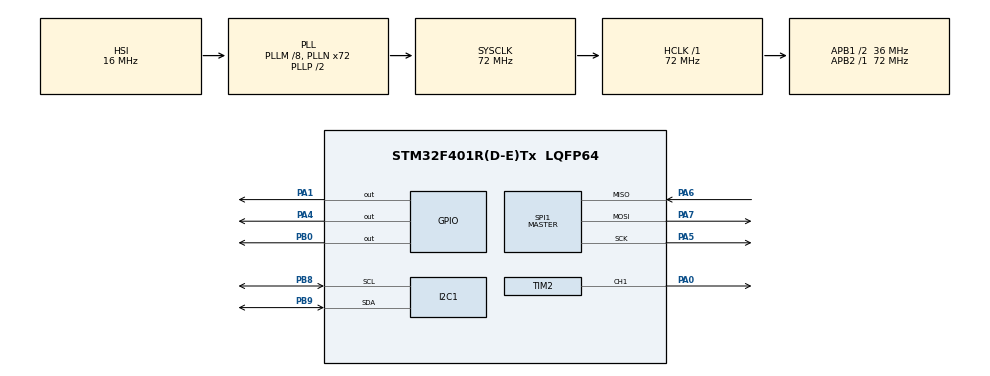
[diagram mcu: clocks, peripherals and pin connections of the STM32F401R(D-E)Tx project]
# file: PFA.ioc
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Mcu.Family=STM32F4
Mcu.Name=STM32F401R(D-E)Tx
Mcu.Package=LQFP64
NVIC.PriorityGroup=NVIC_PRIORITYGROUP_0
PA0-WKUP.Signal=S_TIM2_CH1_ETR
PA1.Signal=GPIO_Output
PA13.Mode=Serial_Wire
PA13.Signal=SYS_JTMS-SWDIO
PA14.Mode=Serial_Wire
PA14.Signal=SYS_JTCK-SWCLK
PA4.Signal=GPIO_Output
PA5.Mode=Full_Duplex_Master
PA5.Signal=SPI1_SCK
PA6.Mode=Full_Duplex_Master
PA6.Signal=SPI1_MISO
PA7.Mode=Full_Duplex_Master
PA7.Signal=SPI1_MOSI
PB0.Signal=GPIO_Output
PB8.Mode=I2C
PB8.Signal=I2C1_SCL
PB9.Mode=I2C
PB9.Signal=I2C1_SDA
PH0\ -\ OSC_IN.Mode=HSE-External-Oscillator
PH0\ -\ OSC_IN.Signal=RCC_OSC_IN
PH1\ -\ OSC_OUT.Mode=HSE-External-Oscillator
PH1\ -\ OSC_OUT.Signal=RCC_OSC_OUT
ProjectManager.HeapSize=0x200
ProjectManager.StackSize=0x400
ProjectManager.TargetToolchain=STM32CubeIDE
RCC.48MHZClocksFreq_Value=20571428.57142857
RCC.AHBFreq_Value=72000000
RCC.APB1CLKDivider=RCC_HCLK_DIV2
RCC.APB1Freq_Value=36000000
RCC.APB1TimFreq_Value=72000000
RCC.APB2Freq_Value=72000000
RCC.APB2TimFreq_Value=72000000
RCC.CortexFreq_Value=72000000
RCC.HCLKFreq_Value=72000000
RCC.HSE_VALUE=8000000
RCC.HSI_VALUE=16000000
RCC.LSE_VALUE=32768
RCC.PLLM=8
RCC.PLLN=72
RCC.PLLQ=7
RCC.SYSCLKFreq_VALUE=72000000
RCC.SYSCLKSource=RCC_SYSCLKSOURCE_PLLCLK
RCC.VCOOutputFreq_Value=144000000
SH.S_TIM2_CH1_ETR.0=TIM2_CH1,PWM Generation1 CH1
SPI1.BaudRatePrescaler=SPI_BAUDRATEPRESCALER_8
SPI1.Direction=SPI_DIRECTION_2LINES
SPI1.Mode=SPI_MODE_MASTER
SPI1.VirtualType=VM_MASTER
TIM1.Prescaler=71
TIM2.Channel-PWM\ Generation1\ CH1=TIM_CHANNEL_1
TIM2.Prescaler=900-1
VP_TIM1_VS_ClockSourceINT.Mode=Internal
board=NUCLEO-F401RE

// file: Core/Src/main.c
/* USER CODE BEGIN Header */
/**
  ******************************************************************************
  * @file           : main.c
  * @brief          : Main program body
  ******************************************************************************
  * @attention
  *
  * Copyright (c) 2024 STMicroelectronics.
  * All rights reserved.
  *
  * This software is licensed under terms that can be found in the LICENSE file
  * in the root directory of this software component.
  * If no LICENSE file comes with this software, it is provided AS-IS.
  *
  ******************************************************************************
  */
/* USER CODE END Header */
#include "main.h"

/* USER CODE BEGIN Includes */
#include "i2c-lcd.h"
#include "stdio.h"
#include "string.h"
#include "rc522.h"
#include"stm32f4xx_hal.h"
/* USER CODE END Includes */

I2C_HandleTypeDef hi2c1;

SPI_HandleTypeDef hspi1;

TIM_HandleTypeDef htim1;
TIM_HandleTypeDef htim2;

/* USER CODE BEGIN PV */
uint8_t status;
uint8_t str[MAX_LEN]; // Max_LEN = 16
uint8_t sNum[5];
/* USER CODE END PV */

void SystemClock_Config(void);
static void MX_GPIO_Init(void);
static void MX_I2C1_Init(void);
static void MX_TIM1_Init(void);
static void MX_SPI1_Init(void);
static void MX_TIM2_Init(void);

/* USER CODE BEGIN 0 */
#define DHT11_PORT GPIOA
#define DHT11_PIN GPIO_PIN_1
uint8_t RHI, RHD, TCI, TCD, SUM;
uint32_t pMillis, cMillis;
float Temp = 0;
float tFahrenheit = 0;
float Rh = 0;
void microDelay (uint16_t delay)
{
  __HAL_TIM_SET_COUNTER(&htim1, 0);
  while (__HAL_TIM_GET_COUNTER(&htim1) < delay);
}
void Display_Temp (float Temp)
{
	char str[20] = {0};
	lcd_put_cur(0,0);

	sprintf (str, "TEMP: %.2f", Temp);
	lcd_send_string(str);
	lcd_send_data('c');
}
void Display_Rh (float Rh)
{
	char str[20] = {0};
	lcd_put_cur(1,0);

	sprintf (str, "Rh: %.2f", Rh);
	lcd_send_string(str);
	lcd_send_data('%');
}

uint8_t DHT11_Start (void)
{
  uint8_t Response = 0;
  GPIO_InitTypeDef GPIO_InitStructPrivate = {0};
  GPIO_InitStructPrivate.Pin = DHT11_PIN;
  GPIO_InitStructPrivate.Mode = GPIO_MODE_OUTPUT_PP;
  GPIO_InitStructPrivate.Speed = GPIO_SPEED_FREQ_LOW;
  GPIO_InitStructPrivate.Pull = GPIO_NOPULL;
  HAL_GPIO_Init(DHT11_PORT, &GPIO_InitStructPrivate); // set the pin as output
  HAL_GPIO_WritePin (DHT11_PORT, DHT11_PIN, 0);   // pull the pin low
  HAL_Delay(20);   // wait for 20ms
  HAL_GPIO_WritePin (DHT11_PORT, DHT11_PIN, 1);   // pull the pin high
  microDelay (30);   // wait for 30us
  GPIO_InitStructPrivate.Mode = GPIO_MODE_INPUT;
  GPIO_InitStructPrivate.Pull = GPIO_PULLUP;
  HAL_GPIO_Init(DHT11_PORT, &GPIO_InitStructPrivate); // set the pin as input
  microDelay (40);
  if (!(HAL_GPIO_ReadPin (DHT11_PORT, DHT11_PIN)))
  {
    microDelay (80);
    if ((HAL_GPIO_ReadPin (DHT11_PORT, DHT11_PIN))) Response = 1;
  }
  pMillis = HAL_GetTick();
  cMillis = HAL_GetTick();
  while ((HAL_GPIO_ReadPin (DHT11_PORT, DHT11_PIN)) && pMillis + 2 > cMillis)
  {
    cMillis = HAL_GetTick();
  }
  return Response;
}

uint8_t DHT11_Read (void)
{
  uint8_t a,b;
  for (a=0;a<8;a++)
  {
    pMillis = HAL_GetTick();
    cMillis = HAL_GetTick();
    while (!(HAL_GPIO_ReadPin (DHT11_PORT, DHT11_PIN)) && pMillis + 2 > cMillis)
    {  // wait for the pin to go high
      cMillis = HAL_GetTick();
    }
    microDelay (40);   // wait for 40 us
    if (!(HAL_GPIO_ReadPin (DHT11_PORT, DHT11_PIN)))   // if the pin is low
      b&= ~(1<<(7-a));
    else
      b|= (1<<(7-a));
    pMillis = HAL_GetTick();
    cMillis = HAL_GetTick();
    while ((HAL_GPIO_ReadPin (DHT11_PORT, DHT11_PIN)) && pMillis + 2 > cMillis)
    {  // wait for the pin to go low
      cMillis = HAL_GetTick();
    }
  }
  return b;
}
/* USER CODE END 0 */

int main(void)
{

  /* MCU Configuration--------------------------------------------------------*/

  /* Reset of all peripherals, Initializes the Flash interface and the Systick. */
  HAL_Init();

  /* Configure the system clock */
  SystemClock_Config();

  /* Initialize all configured peripherals */
  MX_GPIO_Init();
  MX_I2C1_Init();
  MX_TIM1_Init();
  MX_SPI1_Init();
  MX_TIM2_Init();
  /* USER CODE BEGIN 2 */
    MFRC522_Init();
    HAL_TIM_PWM_Start(&htim2, TIM_CHANNEL_1);
    HAL_TIM_Base_Start(&htim1);
    lcd_init(); //initialize lcd
    lcd_send_string("INITIALIZING.."); //display string on lcd
    HAL_Delay(2000); //wait for 2 seconds
    lcd_clear(); //clear lcd display
  /* USER CODE END 2 */

  /* Infinite loop */
  while (1)
  {

    /* USER CODE BEGIN 3 */
    if(DHT11_Start())
   {
     RHI = DHT11_Read(); // Relative humidity integral
     RHD = DHT11_Read(); // Relative humidity decimal
     TCI = DHT11_Read(); // Celsius integral
     TCD = DHT11_Read(); // Celsius decimal
     SUM = DHT11_Read(); // Check sum
     if (RHI + RHD + TCI + TCD == SUM)
     {
       // Can use RHI and TCI for any purposes if whole number only needed
       Temp = (float)TCI + (float)(TCD/10.0);
       tFahrenheit = Temp * 9/5 + 32;
       Rh = (float)RHI + (float)(RHD/10.0);
       // Can use tCelsius, tFahrenheit and RH for any purposes
       Display_Temp(Temp);
       Display_Rh(Rh);
     }
   }

HAL_Delay(2000);
status = MFRC522_Request(PICC_REQIDL, str);
status = MFRC522_Anticoll(str);
	  memcpy(sNum, str, 5);
	  HAL_Delay(100);
	  if((str[0]==131) && (str[1]==137) && (str[2]==113) && (str[3]==16) && (str[4]==107) )
	  	    {
	              htim2.Instance->CCR1 = 25;  // duty cycle is .5 ms
	        	  HAL_Delay(2000);
	        	  htim2.Instance->CCR1 = 75;  // duty cycle is 1.5 ms
	        	  HAL_Delay(2000);
	        	  htim2.Instance->CCR1 = 125;  // duty cycle is 2.5 ms
	        	  HAL_Delay(2000);

	        	  HAL_Delay(2000);
	  	           HAL_Delay(100);
	  	       }
	  	     else /*if((str[0]==12) && (str[1]==247) &&(str[2]==166) && (str[3]==59) && (str[4]==124) )*/
	  	       {
	  	       printf("CLOSED");
	  	       HAL_Delay(100);
	  	     }

  }

  /* USER CODE END 3 */
}

void SystemClock_Config(void)
{
  RCC_OscInitTypeDef RCC_OscInitStruct = {0};
  RCC_ClkInitTypeDef RCC_ClkInitStruct = {0};

  /** Configure the main internal regulator output voltage
  */
  __HAL_RCC_PWR_CLK_ENABLE();
  __HAL_PWR_VOLTAGESCALING_CONFIG(PWR_REGULATOR_VOLTAGE_SCALE2);

  /** Initializes the RCC Oscillators according to the specified parameters
  * in the RCC_OscInitTypeDef structure.
  */
  RCC_OscInitStruct.OscillatorType = RCC_OSCILLATORTYPE_HSI;
  RCC_OscInitStruct.HSIState = RCC_HSI_ON;
  RCC_OscInitStruct.HSICalibrationValue = RCC_HSICALIBRATION_DEFAULT;
  RCC_OscInitStruct.PLL.PLLState = RCC_PLL_ON;
  RCC_OscInitStruct.PLL.PLLSource = RCC_PLLSOURCE_HSI;
  RCC_OscInitStruct.PLL.PLLM = 8;
  RCC_OscInitStruct.PLL.PLLN = 72;
  RCC_OscInitStruct.PLL.PLLP = RCC_PLLP_DIV2;
  RCC_OscInitStruct.PLL.PLLQ = 7;
  if (HAL_RCC_OscConfig(&RCC_OscInitStruct) != HAL_OK)
  {
    Error_Handler();
  }

  /** Initializes the CPU, AHB and APB buses clocks
  */
  RCC_ClkInitStruct.ClockType = RCC_CLOCKTYPE_HCLK|RCC_CLOCKTYPE_SYSCLK
                              |RCC_CLOCKTYPE_PCLK1|RCC_CLOCKTYPE_PCLK2;
  RCC_ClkInitStruct.SYSCLKSource = RCC_SYSCLKSOURCE_PLLCLK;
  RCC_ClkInitStruct.AHBCLKDivider = RCC_SYSCLK_DIV1;
  RCC_ClkInitStruct.APB1CLKDivider = RCC_HCLK_DIV2;
  RCC_ClkInitStruct.APB2CLKDivider = RCC_HCLK_DIV1;

  if (HAL_RCC_ClockConfig(&RCC_ClkInitStruct, FLASH_LATENCY_2) != HAL_OK)
  {
    Error_Handler();
  }
}

static void MX_I2C1_Init(void)
{

  hi2c1.Instance = I2C1;
  hi2c1.Init.ClockSpeed = 100000;
  hi2c1.Init.DutyCycle = I2C_DUTYCYCLE_2;
  hi2c1.Init.OwnAddress1 = 0;
  hi2c1.Init.AddressingMode = I2C_ADDRESSINGMODE_7BIT;
  hi2c1.Init.DualAddressMode = I2C_DUALADDRESS_DISABLE;
  hi2c1.Init.OwnAddress2 = 0;
  hi2c1.Init.GeneralCallMode = I2C_GENERALCALL_DISABLE;
  hi2c1.Init.NoStretchMode = I2C_NOSTRETCH_DISABLE;
  if (HAL_I2C_Init(&hi2c1) != HAL_OK)
  {
    Error_Handler();
  }

}

static void MX_SPI1_Init(void)
{

  /* SPI1 parameter configuration*/
  hspi1.Instance = SPI1;
  hspi1.Init.Mode = SPI_MODE_MASTER;
  hspi1.Init.Direction = SPI_DIRECTION_2LINES;
  hspi1.Init.DataSize = SPI_DATASIZE_8BIT;
  hspi1.Init.CLKPolarity = SPI_POLARITY_LOW;
  hspi1.Init.CLKPhase = SPI_PHASE_1EDGE;
  hspi1.Init.NSS = SPI_NSS_SOFT;
  hspi1.Init.BaudRatePrescaler = SPI_BAUDRATEPRESCALER_8;
  hspi1.Init.FirstBit = SPI_FIRSTBIT_MSB;
  hspi1.Init.TIMode = SPI_TIMODE_DISABLE;
  hspi1.Init.CRCCalculation = SPI_CRCCALCULATION_DISABLE;
  hspi1.Init.CRCPolynomial = 10;
  if (HAL_SPI_Init(&hspi1) != HAL_OK)
  {
    Error_Handler();
  }

}

static void MX_TIM1_Init(void)
{

  TIM_ClockConfigTypeDef sClockSourceConfig = {0};
  TIM_MasterConfigTypeDef sMasterConfig = {0};

  htim1.Instance = TIM1;
  htim1.Init.Prescaler = 71;
  htim1.Init.CounterMode = TIM_COUNTERMODE_UP;
  htim1.Init.Period = 65535;
  htim1.Init.ClockDivision = TIM_CLOCKDIVISION_DIV1;
  htim1.Init.RepetitionCounter = 0;
  htim1.Init.AutoReloadPreload = TIM_AUTORELOAD_PRELOAD_DISABLE;
  if (HAL_TIM_Base_Init(&htim1) != HAL_OK)
  {
    Error_Handler();
  }
  sClockSourceConfig.ClockSource = TIM_CLOCKSOURCE_INTERNAL;
  if (HAL_TIM_ConfigClockSource(&htim1, &sClockSourceConfig) != HAL_OK)
  {
    Error_Handler();
  }
  sMasterConfig.MasterOutputTrigger = TIM_TRGO_RESET;
  sMasterConfig.MasterSlaveMode = TIM_MASTERSLAVEMODE_DISABLE;
  if (HAL_TIMEx_MasterConfigSynchronization(&htim1, &sMasterConfig) != HAL_OK)
  {
    Error_Handler();
  }

}

static void MX_TIM2_Init(void)
{

  TIM_MasterConfigTypeDef sMasterConfig = {0};
  TIM_OC_InitTypeDef sConfigOC = {0};

  htim2.Instance = TIM2;
  htim2.Init.Prescaler = 900-1;
  htim2.Init.CounterMode = TIM_COUNTERMODE_UP;
  htim2.Init.Period = 100-1;
  htim2.Init.ClockDivision = TIM_CLOCKDIVISION_DIV1;
  htim2.Init.AutoReloadPreload = TIM_AUTORELOAD_PRELOAD_DISABLE;
  if (HAL_TIM_PWM_Init(&htim2) != HAL_OK)
  {
    Error_Handler();
  }
  sMasterConfig.MasterOutputTrigger = TIM_TRGO_RESET;
  sMasterConfig.MasterSlaveMode = TIM_MASTERSLAVEMODE_DISABLE;
  if (HAL_TIMEx_MasterConfigSynchronization(&htim2, &sMasterConfig) != HAL_OK)
  {
    Error_Handler();
  }
  if (HAL_TIM_PWM_Init(&htim2) != HAL_OK)
    {
      Error_Handler();
    }
    sMasterConfig.MasterOutputTrigger = TIM_TRGO_RESET;
    sMasterConfig.MasterSlaveMode = TIM_MASTERSLAVEMODE_DISABLE;
    if (HAL_TIMEx_MasterConfigSynchronization(&htim2, &sMasterConfig) != HAL_OK)
    {
      Error_Handler();
    }
    sConfigOC.OCMode = TIM_OCMODE_PWM1;
    sConfigOC.Pulse = 0;
    sConfigOC.OCPolarity = TIM_OCPOLARITY_HIGH;
    sConfigOC.OCFastMode = TIM_OCFAST_DISABLE;
    if (HAL_TIM_PWM_ConfigChannel(&htim2, &sConfigOC, TIM_CHANNEL_1) != HAL_OK)
    {
      Error_Handler();
    }
    HAL_TIM_MspPostInit(&htim2);

  }

static void MX_GPIO_Init(void)
{
  GPIO_InitTypeDef GPIO_InitStruct = {0};

  /* GPIO Ports Clock Enable */
  __HAL_RCC_GPIOH_CLK_ENABLE();
  __HAL_RCC_GPIOA_CLK_ENABLE();
  __HAL_RCC_GPIOB_CLK_ENABLE();

  /*Configure GPIO pin Output Level */
  HAL_GPIO_WritePin(GPIOA, GPIO_PIN_1|GPIO_PIN_4, GPIO_PIN_RESET);

  /*Configure GPIO pin Output Level */
  HAL_GPIO_WritePin(GPIOB, GPIO_PIN_0, GPIO_PIN_RESET);

  /*Configure GPIO pins : PA1 PA4 */
  GPIO_InitStruct.Pin = GPIO_PIN_1|GPIO_PIN_4;
  GPIO_InitStruct.Mode = GPIO_MODE_OUTPUT_PP;
  GPIO_InitStruct.Pull = GPIO_NOPULL;
  GPIO_InitStruct.Speed = GPIO_SPEED_FREQ_LOW;
  HAL_GPIO_Init(GPIOA, &GPIO_InitStruct);

  /*Configure GPIO pin : PB0 */
  GPIO_InitStruct.Pin = GPIO_PIN_0;
  GPIO_InitStruct.Mode = GPIO_MODE_OUTPUT_PP;
  GPIO_InitStruct.Pull = GPIO_NOPULL;
  GPIO_InitStruct.Speed = GPIO_SPEED_FREQ_LOW;
  HAL_GPIO_Init(GPIOB, &GPIO_InitStruct);

}

void Error_Handler(void)
{
  __disable_irq();
  while (1)
  {
  }
}
